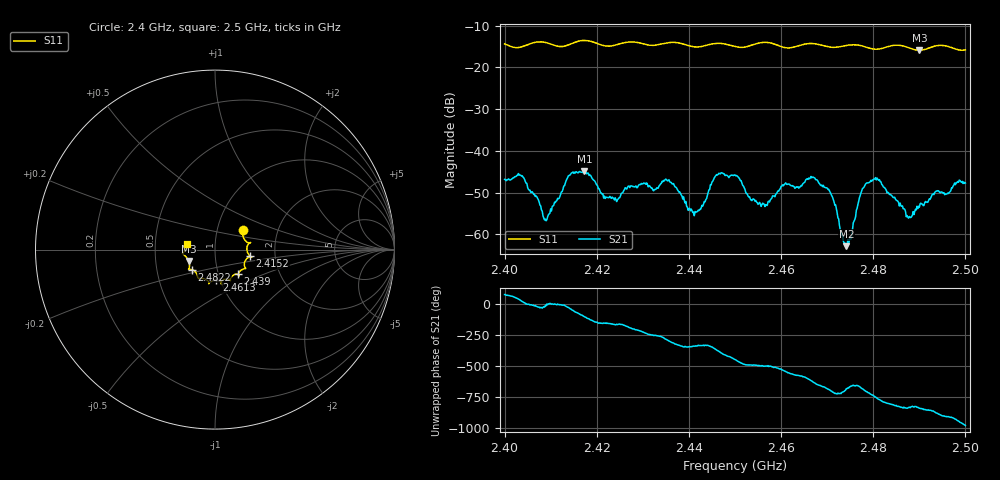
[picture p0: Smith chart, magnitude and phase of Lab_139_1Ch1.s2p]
# Hz S RI R 50
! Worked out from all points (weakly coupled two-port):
!   601 points, 2.4 GHz to 2.5 GHz, reference 50 ohm
!   highest |S21| = -44.90 dB at 2.4173 GHz (marker M1); lowest = -62.8 dB at 2.4742 GHz (marker M2)
!   lowest |S11| = -15.9 dB at 2.49 GHz (marker M3), VSWR 1.38, Z = 36.9 - j4.82 ohm
!   |S11| at or under -10 dB: start of sweep to end of sweep
!   S12 and S22 are empty: the file has one direction only
!   S11 on the Smith chart (normalised r, x): 2.4 GHz: 1.33, +0.31; 2.4152 GHz: 1.48, -0.11; 2.439 GHz: 1.24, -0.35; 2.4613 GHz: 0.96, -0.34; 2.4822 GHz: 0.76, -0.17; 2.5 GHz: 0.73, +0.05
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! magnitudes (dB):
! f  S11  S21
! 2.4 GHz  -14.4  -46.8
! 2.4038 GHz  -15.0  -46.0
! 2.4088 GHz  -14.0  -56.3
! 2.4152 GHz  -14.1  -45.1
! 2.4167 GHz  -13.6  -45.1
! 2.4173 GHz  -13.6  -44.9
! 2.422 GHz  -14.9  -51.1
! 2.4333 GHz  -14.6  -48.9
! 2.439 GHz  -14.5  -51.9
! 2.4417 GHz  -15.1  -54.6
! 2.446 GHz  -14.3  -45.7
! 2.45 GHz  -15.0  -45.8
! 2.456 GHz  -14.0  -52.5
! 2.4613 GHz  -15.4  -48.0
! 2.4667 GHz  -14.3  -46.4
! 2.4708 GHz  -15.2  -50.3
! 2.4742 GHz  -14.8  -62.8
! 2.478 GHz  -15.0  -48.7
! 2.4822 GHz  -15.4  -48.6
! 2.4833 GHz  -15.0  -50.1
! 2.49 GHz  -15.9  -53.5
! 2.5 GHz  -15.8  -47.7
